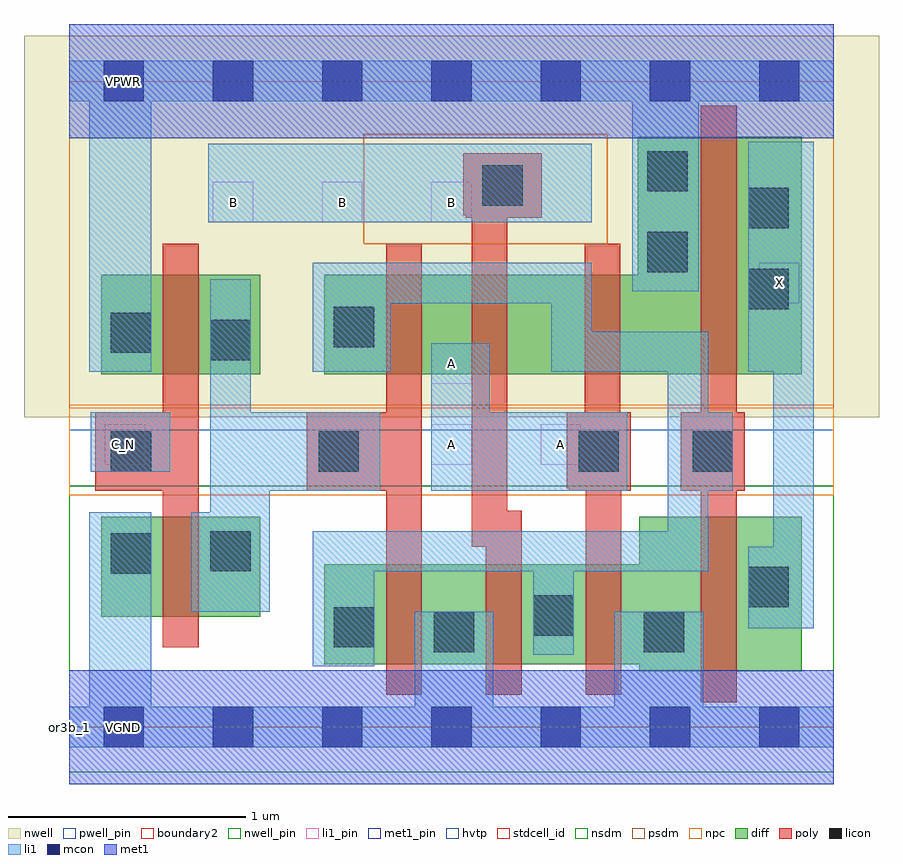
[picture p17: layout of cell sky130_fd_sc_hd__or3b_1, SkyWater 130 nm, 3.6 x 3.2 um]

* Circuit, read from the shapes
.subckt sky130_fd_sc_hd__or3b_1 A B C_N VGND VNB VPB VPWR X
XM1 n1 C_N VGND VNB sky130_fd_pr__nfet_01v8 w=0.42 l=0.15
XM2 VGND n1 n2 VNB sky130_fd_pr__nfet_01v8 w=0.42 l=0.15
XM3 n2 B VGND VNB sky130_fd_pr__nfet_01v8 w=0.42 l=0.15
XM4 VGND A n2 VNB sky130_fd_pr__nfet_01v8 w=0.42 l=0.15
XM5 X n2 VGND VNB sky130_fd_pr__nfet_01v8 w=0.65 l=0.15
XM6 n1 C_N VPWR VPB sky130_fd_pr__pfet_01v8_hvt w=0.42 l=0.15
XM7 n3 n1 n2 VPB sky130_fd_pr__pfet_01v8_hvt w=0.42 l=0.15
XM8 n4 B n3 VPB sky130_fd_pr__pfet_01v8_hvt w=0.42 l=0.15
XM9 VPWR A n4 VPB sky130_fd_pr__pfet_01v8_hvt w=0.42 l=0.15
XM10 X n2 VPWR VPB sky130_fd_pr__pfet_01v8_hvt w=1 l=0.15
.ends

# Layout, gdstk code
import gdstk
lib = gdstk.Library(unit=1e-6, precision=1e-09)
def R(c, l, rs):  # rectangles x0, y0, x1, y1
    for r in rs: c.add(gdstk.rectangle(r[:2], r[2:], *l))
def P(c, l, *ps):  # polygons
    for p in ps: c.add(gdstk.Polygon(p, *l))
nwell_pin = (64, 16)
nwell = (64, 20)
diff = (65, 20)
poly = (66, 20)
licon = (66, 44)
li1_pin = (67, 16)
li1 = (67, 20)
mcon = (67, 44)
met1_pin = (68, 16)
met1 = (68, 20)
hvtp = (78, 44)
stdcell_id = (81, 4)
nsdm = (93, 44)
psdm = (94, 20)
npc = (95, 20)
pwell_pin = (122, 16)
boundary2 = (236, 0)

sky130_fd_sc_hd__or3b_1 = lib.new_cell('sky130_fd_sc_hd__or3b_1')
R(sky130_fd_sc_hd__or3b_1, nwell_pin, [(0.145,2.635,0.315,2.805), (0.145,2.635,0.315,2.805)])
R(sky130_fd_sc_hd__or3b_1, nwell, [(-0.19,1.305,3.41,2.91), (-0.19,1.305,3.41,2.91)])
R(sky130_fd_sc_hd__or3b_1, diff, [(0.135,0.465,0.805,0.885), (0.135,0.465,0.805,0.885), (0.135,1.485,0.805,1.905), (0.135,1.485,0.805,1.905)])
P(sky130_fd_sc_hd__or3b_1, diff, [(2.4,0.235),(2.4,0.265),(1.075,0.265),(1.075,0.685),(2.4,0.685),(2.4,0.885),(3.085,0.885),(3.085,0.235)],
  [(1.075,1.485),(1.075,1.905),(2.395,1.905),(2.395,2.485),(3.085,2.485),(3.085,1.485)],
  [(2.4,0.235),(2.4,0.265),(1.075,0.265),(1.075,0.685),(2.4,0.685),(2.4,0.885),(3.085,0.885),(3.085,0.235)],
  [(1.075,1.485),(1.075,1.905),(2.395,1.905),(2.395,2.485),(3.085,2.485),(3.085,1.485)])
P(sky130_fd_sc_hd__or3b_1, poly, [(2.66,0.105),(2.66,0.995),(2.575,0.995),(2.575,1.325),(2.66,1.325),(2.66,2.615),(2.81,2.615),(2.81,1.325),(2.845,1.325),(2.845,0.995),(2.81,0.995),(2.81,0.105)],
  [(2.175,0.135),(2.175,0.995),(2.105,0.995),(2.105,1.005),(2.095,1.005),(2.095,1.325),(2.17,1.325),(2.17,2.035),(2.32,2.035),(2.32,1.325),(2.365,1.325),(2.365,0.995),(2.325,0.995),(2.325,0.135)],
  [(1.755,0.135),(1.755,0.76),(1.695,0.76),(1.695,2.145),(1.67,2.145),(1.67,2.155),(1.66,2.155),(1.66,2.415),(1.99,2.415),(1.99,2.145),(1.845,2.145),(1.845,0.91),(1.905,0.91),(1.905,0.135)],
  [(1.335,0.135),(1.335,0.995),(1,0.995),(1,1.325),(1.335,1.325),(1.335,2.035),(1.485,2.035),(1.485,0.135)],
  [(0.395,0.335),(0.395,0.995),(0.11,0.995),(0.11,1.325),(0.395,1.325),(0.395,2.035),(0.545,2.035),(0.545,0.335)],
  [(2.66,0.105),(2.66,0.995),(2.575,0.995),(2.575,1.325),(2.66,1.325),(2.66,2.615),(2.81,2.615),(2.81,1.325),(2.845,1.325),(2.845,0.995),(2.81,0.995),(2.81,0.105)],
  [(2.175,0.135),(2.175,0.995),(2.105,0.995),(2.105,1.005),(2.095,1.005),(2.095,1.325),(2.17,1.325),(2.17,2.035),(2.32,2.035),(2.32,1.325),(2.365,1.325),(2.365,0.995),(2.325,0.995),(2.325,0.135)],
  [(1.755,0.135),(1.755,0.76),(1.695,0.76),(1.695,2.145),(1.67,2.145),(1.67,2.155),(1.66,2.155),(1.66,2.415),(1.99,2.415),(1.99,2.145),(1.845,2.145),(1.845,0.91),(1.905,0.91),(1.905,0.135)],
  [(1.335,0.135),(1.335,0.995),(1,0.995),(1,1.325),(1.335,1.325),(1.335,2.035),(1.485,2.035),(1.485,0.135)],
  [(0.395,0.335),(0.395,0.995),(0.11,0.995),(0.11,1.325),(0.395,1.325),(0.395,2.035),(0.545,2.035),(0.545,0.335)])
R(sky130_fd_sc_hd__or3b_1, licon, [(1.535,0.315,1.705,0.485), (1.535,0.315,1.705,0.485), (2.42,0.315,2.59,0.485), (2.42,0.315,2.59,0.485), (1.115,0.335,1.285,0.505), (1.115,0.335,1.285,0.505), (1.955,0.385,2.125,0.555), (1.955,0.385,2.125,0.555), (2.86,0.505,3.03,0.675), (2.86,0.505,3.03,0.675), (0.175,0.645,0.345,0.815), (0.175,0.645,0.345,0.815), (0.595,0.655,0.765,0.825), (0.595,0.655,0.765,0.825), (0.175,1.075,0.345,1.245), (0.175,1.075,0.345,1.245), (1.05,1.075,1.22,1.245), (1.05,1.075,1.22,1.245), (2.145,1.075,2.315,1.245), (2.145,1.075,2.315,1.245), (2.625,1.075,2.795,1.245), (2.625,1.075,2.795,1.245), (0.595,1.545,0.765,1.715), (0.595,1.545,0.765,1.715), (0.175,1.575,0.345,1.745), (0.175,1.575,0.345,1.745), (1.115,1.6,1.285,1.77), (1.115,1.6,1.285,1.77), (2.86,1.76,3.03,1.93), (2.86,1.76,3.03,1.93), (2.435,1.915,2.605,2.085), (2.435,1.915,2.605,2.085), (2.86,2.1,3.03,2.27), (2.86,2.1,3.03,2.27), (1.74,2.195,1.91,2.365), (1.74,2.195,1.91,2.365), (2.435,2.255,2.605,2.425), (2.435,2.255,2.605,2.425)])
R(sky130_fd_sc_hd__or3b_1, li1_pin, [(0.15,1.105,0.32,1.275), (0.15,1.105,0.32,1.275), (1.525,1.105,1.695,1.275), (1.525,1.105,1.695,1.275), (1.985,1.105,2.155,1.275), (1.985,1.105,2.155,1.275), (1.525,1.445,1.695,1.615), (1.525,1.445,1.695,1.615), (2.905,1.785,3.075,1.955), (2.905,1.785,3.075,1.955), (0.605,2.125,0.775,2.295), (0.605,2.125,0.775,2.295), (1.065,2.125,1.235,2.295), (1.065,2.125,1.235,2.295), (1.525,2.125,1.695,2.295), (1.525,2.125,1.695,2.295)])
R(sky130_fd_sc_hd__or3b_1, li1, [(0.09,1.075,0.425,1.325), (0.09,1.075,0.425,1.325), (0.585,2.125,2.2,2.455), (0.585,2.125,2.2,2.455)])
P(sky130_fd_sc_hd__or3b_1, li1, [(0,-0.085),(0,0.085),(0.085,0.085),(0.085,0.905),(0.345,0.905),(0.345,0.085),(1.455,0.085),(1.455,0.485),(1.785,0.485),(1.785,0.085),(2.295,0.085),(2.295,0.485),(2.67,0.485),(2.67,0.085),(3.22,0.085),(3.22,-0.085)],
  [(2.86,0.415),(2.86,0.76),(2.965,0.76),(2.965,1.495),(2.86,1.495),(2.86,2.465),(3.135,2.465),(3.135,0.415)],
  [(1.025,0.255),(1.025,0.825),(2.52,0.825),(2.52,1.495),(2.03,1.495),(2.03,1.785),(1.355,1.785),(1.355,1.495),(1.025,1.495),(1.025,1.955),(2.2,1.955),(2.2,1.665),(2.69,1.665),(2.69,1.325),(2.795,1.325),(2.795,0.995),(2.69,0.995),(2.69,0.655),(2.125,0.655),(2.125,0.305),(1.955,0.305),(1.955,0.655),(1.285,0.655),(1.285,0.255)],
  [(1.525,0.995),(1.525,1.615),(1.77,1.615),(1.77,1.325),(2.35,1.325),(2.35,0.995)],
  [(0.085,1.495),(0.085,2.635),(0,2.635),(0,2.805),(3.22,2.805),(3.22,2.635),(2.65,2.635),(2.65,1.835),(2.37,1.835),(2.37,2.635),(0.345,2.635),(0.345,1.495)],
  [(0.515,0.485),(0.515,0.905),(0.595,0.905),(0.595,1.885),(0.765,1.885),(0.765,1.325),(1.31,1.325),(1.31,0.995),(0.845,0.995),(0.845,0.485)],
  [(0,-0.085),(0,0.085),(0.085,0.085),(0.085,0.905),(0.345,0.905),(0.345,0.085),(1.455,0.085),(1.455,0.485),(1.785,0.485),(1.785,0.085),(2.295,0.085),(2.295,0.485),(2.67,0.485),(2.67,0.085),(3.22,0.085),(3.22,-0.085)],
  [(2.86,0.415),(2.86,0.76),(2.965,0.76),(2.965,1.495),(2.86,1.495),(2.86,2.465),(3.135,2.465),(3.135,0.415)],
  [(1.025,0.255),(1.025,0.825),(2.52,0.825),(2.52,1.495),(2.03,1.495),(2.03,1.785),(1.355,1.785),(1.355,1.495),(1.025,1.495),(1.025,1.955),(2.2,1.955),(2.2,1.665),(2.69,1.665),(2.69,1.325),(2.795,1.325),(2.795,0.995),(2.69,0.995),(2.69,0.655),(2.125,0.655),(2.125,0.305),(1.955,0.305),(1.955,0.655),(1.285,0.655),(1.285,0.255)],
  [(1.525,0.995),(1.525,1.615),(1.77,1.615),(1.77,1.325),(2.35,1.325),(2.35,0.995)],
  [(0.085,1.495),(0.085,2.635),(0,2.635),(0,2.805),(3.22,2.805),(3.22,2.635),(2.65,2.635),(2.65,1.835),(2.37,1.835),(2.37,2.635),(0.345,2.635),(0.345,1.495)],
  [(0.515,0.485),(0.515,0.905),(0.595,0.905),(0.595,1.885),(0.765,1.885),(0.765,1.325),(1.31,1.325),(1.31,0.995),(0.845,0.995),(0.845,0.485)])
R(sky130_fd_sc_hd__or3b_1, mcon, [(0.145,-0.085,0.315,0.085), (0.145,-0.085,0.315,0.085), (0.605,-0.085,0.775,0.085), (0.605,-0.085,0.775,0.085), (1.065,-0.085,1.235,0.085), (1.065,-0.085,1.235,0.085), (1.525,-0.085,1.695,0.085), (1.525,-0.085,1.695,0.085), (1.985,-0.085,2.155,0.085), (1.985,-0.085,2.155,0.085), (2.445,-0.085,2.615,0.085), (2.445,-0.085,2.615,0.085), (2.905,-0.085,3.075,0.085), (2.905,-0.085,3.075,0.085), (0.145,2.635,0.315,2.805), (0.145,2.635,0.315,2.805), (0.605,2.635,0.775,2.805), (0.605,2.635,0.775,2.805), (1.065,2.635,1.235,2.805), (1.065,2.635,1.235,2.805), (1.525,2.635,1.695,2.805), (1.525,2.635,1.695,2.805), (1.985,2.635,2.155,2.805), (1.985,2.635,2.155,2.805), (2.445,2.635,2.615,2.805), (2.445,2.635,2.615,2.805), (2.905,2.635,3.075,2.805), (2.905,2.635,3.075,2.805)])
R(sky130_fd_sc_hd__or3b_1, met1_pin, [(0.145,-0.085,0.315,0.085), (0.145,-0.085,0.315,0.085), (0.145,2.635,0.315,2.805), (0.145,2.635,0.315,2.805)])
R(sky130_fd_sc_hd__or3b_1, hvtp, [(0,1.25,3.22,2.72), (0,1.25,3.22,2.72)])
R(sky130_fd_sc_hd__or3b_1, stdcell_id, [(0,0,3.22,2.72), (0,0,3.22,2.72)])
R(sky130_fd_sc_hd__or3b_1, nsdm, [(0,-0.19,3.22,1.015), (0,-0.19,3.22,1.015)])
P(sky130_fd_sc_hd__or3b_1, psdm, [(0,1.355),(0,2.91),(2.265,2.91),(2.265,2.495),(1.24,2.495),(1.24,2.035),(2.265,2.035),(2.265,2.91),(3.22,2.91),(3.22,1.355)],
  [(0,1.355),(0,2.91),(2.265,2.91),(2.265,2.495),(1.24,2.495),(1.24,2.035),(2.265,2.035),(2.265,2.91),(3.22,2.91),(3.22,1.355)])
R(sky130_fd_sc_hd__or3b_1, npc, [(0,0.975,3.22,1.345), (0,0.975,3.22,1.345), (1.24,2.035,2.265,2.495), (1.24,2.035,2.265,2.495)])
R(sky130_fd_sc_hd__or3b_1, pwell_pin, [(0.145,-0.085,0.315,0.085), (0.145,-0.085,0.315,0.085)])
R(sky130_fd_sc_hd__or3b_1, boundary2, [(0,0,3.22,2.72), (0,0,3.22,2.72)])
sky130_fd_sc_hd__or3b_1.add(gdstk.FlexPath([(0,2.72),(3.22,2.72)], 0.48, ends="flush", simple_path=True, layer=68, datatype=20))  # met1
sky130_fd_sc_hd__or3b_1.add(gdstk.FlexPath([(0,0),(3.22,0)], 0.48, ends="flush", simple_path=True, layer=68, datatype=20))  # met1
sky130_fd_sc_hd__or3b_1.add(gdstk.FlexPath([(0,2.72),(3.22,2.72)], 0.48, ends="flush", simple_path=True, layer=68, datatype=20))  # met1
sky130_fd_sc_hd__or3b_1.add(gdstk.FlexPath([(0,0),(3.22,0)], 0.48, ends="flush", simple_path=True, layer=68, datatype=20))  # met1
sky130_fd_sc_hd__or3b_1.add(gdstk.Label('A', (1.61,1.53), layer=67, texttype=5))
sky130_fd_sc_hd__or3b_1.add(gdstk.Label('A', (2.07,1.19), layer=67, texttype=5))
sky130_fd_sc_hd__or3b_1.add(gdstk.Label('C_N', (0.23,1.19), layer=67, texttype=5))
sky130_fd_sc_hd__or3b_1.add(gdstk.Label('X', (2.99,1.87), layer=67, texttype=5))
sky130_fd_sc_hd__or3b_1.add(gdstk.Label('A', (1.61,1.19), layer=67, texttype=5))
sky130_fd_sc_hd__or3b_1.add(gdstk.Label('B', (1.15,2.21), layer=67, texttype=5))
sky130_fd_sc_hd__or3b_1.add(gdstk.Label('B', (0.69,2.21), layer=67, texttype=5))
sky130_fd_sc_hd__or3b_1.add(gdstk.Label('B', (1.61,2.21), layer=67, texttype=5))
sky130_fd_sc_hd__or3b_1.add(gdstk.Label('A', (1.61,1.53), layer=67, texttype=5))
sky130_fd_sc_hd__or3b_1.add(gdstk.Label('A', (2.07,1.19), layer=67, texttype=5))
sky130_fd_sc_hd__or3b_1.add(gdstk.Label('C_N', (0.23,1.19), layer=67, texttype=5))
sky130_fd_sc_hd__or3b_1.add(gdstk.Label('X', (2.99,1.87), layer=67, texttype=5))
sky130_fd_sc_hd__or3b_1.add(gdstk.Label('A', (1.61,1.19), layer=67, texttype=5))
sky130_fd_sc_hd__or3b_1.add(gdstk.Label('B', (1.15,2.21), layer=67, texttype=5))
sky130_fd_sc_hd__or3b_1.add(gdstk.Label('B', (0.69,2.21), layer=67, texttype=5))
sky130_fd_sc_hd__or3b_1.add(gdstk.Label('B', (1.61,2.21), layer=67, texttype=5))
sky130_fd_sc_hd__or3b_1.add(gdstk.Label('VGND', (0.23,0), layer=68, texttype=5))
sky130_fd_sc_hd__or3b_1.add(gdstk.Label('VPWR', (0.23,2.72), layer=68, texttype=5))
sky130_fd_sc_hd__or3b_1.add(gdstk.Label('VGND', (0.23,0), layer=68, texttype=5))
sky130_fd_sc_hd__or3b_1.add(gdstk.Label('VPWR', (0.23,2.72), layer=68, texttype=5))
sky130_fd_sc_hd__or3b_1.add(gdstk.Label('VPB', (0.23,2.72), layer=64, texttype=5))
sky130_fd_sc_hd__or3b_1.add(gdstk.Label('VPB', (0.23,2.72), layer=64, texttype=5))
sky130_fd_sc_hd__or3b_1.add(gdstk.Label('VNB', (0.23,0), layer=64, texttype=59))
sky130_fd_sc_hd__or3b_1.add(gdstk.Label('VNB', (0.23,0), layer=64, texttype=59))
sky130_fd_sc_hd__or3b_1.add(gdstk.Label('or3b_1', (0,0), layer=83, texttype=44))
sky130_fd_sc_hd__or3b_1.add(gdstk.Label('or3b_1', (0,0), layer=83, texttype=44))

lib.write_gds('sky130_fd_sc_hd__or3b_1.gds')
